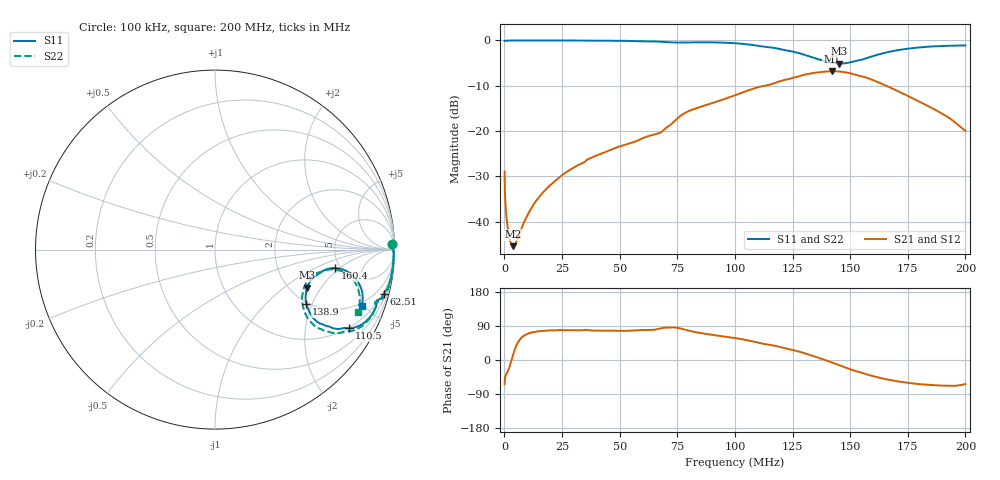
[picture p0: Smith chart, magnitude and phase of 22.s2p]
#  HZ  S  RI  R  50.00
! Rohde & Schwarz Vector Network Analyzer
! Rohde-Schwarz,ZNLE6-2Port,1323001256200024,1.71.1.10-23.02.1.238
! Created: UTC 4/7/2025, 6:57:29 AM
! freq[Hz]  re:S11  im:S11  re:S21  im:S21  re:S12  im:S12  re:S22  im:S22
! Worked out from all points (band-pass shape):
!   1001 points, 100 kHz to 200 MHz, reference 50 ohm
!   highest |S21| = -6.85 dB at 142.1 MHz (marker M1); lowest = -45.4 dB at 3.755 MHz (marker M2)
!   |S21| within 3 dB of the highest: 114.6 MHz to 164.9 MHz (50.28 MHz wide, 36 % of centre)
!   lowest |S11| = -5.1 dB at 145.3 MHz (marker M3), VSWR 3.49, Z = 122 - j75 ohm
!   |S11| at or under -10 dB: nowhere
!   |S22| runs from -5.4 to 0.0 dB; largest |S21 - S12| = 0.012
!   S11 on the Smith chart (normalised r, x): 100 kHz: 24, +51; 62.51 MHz: 0.83, -7.66; 110.5 MHz: 0.98, -3.42; 138.9 MHz: 1.95, -1.82; 160.4 MHz: 4.49, -1.71; 200 MHz: 1.72, -4.76
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100000  0.9845 0.0317  0.0157 -0.0321  0.0158 -0.0322  0.9845 0.0318
355854.1  0.9875 0.0112  0.0125 -0.0121  0.0126 -0.0121  0.9876 0.0112
1266322  0.9923 0.00192  0.00779 -0.00501  0.0078 -0.00502  0.9923 0.00166
2471921  0.994 -0.00477  0.00599 -0.00145  0.006 -0.00145  0.994 -0.0048
3754839  0.9949 -0.0104  0.00521 0.00123  0.00523 0.00111  0.9954 -0.0104
4472136  0.9949 -0.0138  0.00494 0.00249  0.00496 0.00242  0.9956 -0.0138
6539831  0.9955 -0.0222  0.00449 0.00583  0.00454 0.00578  0.9958 -0.0224
1.591428e7  0.9943 -0.0589  0.00469 0.0193  0.00489 0.0192  0.9946 -0.061
3.616581e7  0.9837 -0.1384  0.00932 0.0477  0.0107 0.0472  0.9837 -0.1415
5.663162e7  0.9527 -0.2283  0.0155 0.0744  0.0176 0.0736  0.9567 -0.234
6.25133e7  0.941 -0.247  0.0169 0.086  0.0178 0.0857  0.9413 -0.2626
6.848331e7  0.9216 -0.2743  0.00982 0.0984  0.0144 0.0983  0.9148 -0.288
7.733948e7  0.9008 -0.2857  0.022 0.1509  0.0271 0.1501  0.8916 -0.2955
9.423843e7  0.8678 -0.371  0.0999 0.1955  0.1061 0.1933  0.8612 -0.3846
1.105477e8  0.7466 -0.4386  0.2156 0.2172  0.2209 0.2133  0.7467 -0.4549
1.257961e8  0.6108 -0.4221  0.3522 0.1657  0.3542 0.16  0.5989 -0.4477
1.388611e8  0.5089 -0.3023  0.4506 0.00424  0.4483 -0.00297  0.4887 -0.3103
1.420639e8  0.5052 -0.2578  0.4514 -0.0513  0.4477 -0.0585  0.4859 -0.2598
1.453405e8  0.5122 -0.2123  0.4401 -0.1074  0.4351 -0.1142  0.4963 -0.2093
1.604354e8  0.668 -0.1034  0.2613 -0.2464  0.2515 -0.2528  0.6693 -0.1117
1.770979e8  0.7993 -0.1844  0.1084 -0.2022  0.1007 -0.2059  0.7914 -0.2051
2e8  0.8189 -0.3166  0.0449 -0.0897  0.0424 -0.0919  0.796 -0.3482
